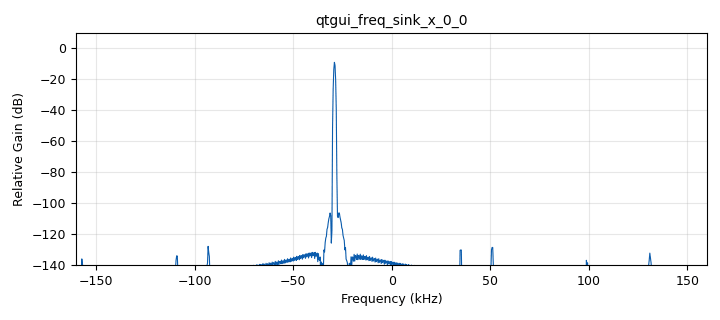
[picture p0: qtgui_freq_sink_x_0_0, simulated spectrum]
options:
  parameters:
    generate_options: qt_gui
    id: timed_xlating_fir_example
    output_language: python
  states: {}

blocks:
- name: samp_rate
  id: variable
  parameters:
    value: '320000'
  states: {}
- name: strobe_freq
  id: variable_qtgui_range
  parameters:
    label: Freq
    orient: Qt.Horizontal
    start: '-1*samp_rate/2'
    step: 1e3
    stop: samp_rate/2
    value: '0'
  states: {}
- name: analog_sig_source_x_0
  id: analog_sig_source_x
  parameters:
    amp: '1'
    freq: '1000'
    offset: '0'
    phase: '0'
    samp_rate: samp_rate
    type: complex
    waveform: analog.GR_COS_WAVE
  states: {}
- name: blocks_add_xx_0
  id: blocks_add_xx
  parameters:
    type: complex
  states: {}
- name: blocks_ctrlport_monitor_performance_0
  id: blocks_ctrlport_monitor_performance
  parameters:
    en: 'True'
  states: {state: disabled}
- name: blocks_file_sink_0
  id: blocks_file_sink
  parameters:
    file: tmp.dat
    type: complex
  states: {state: disabled}
- name: blocks_pdu_set_0
  id: blocks_pdu_set
  parameters:
    k: pmt.intern("freq")
    v: pmt.from_double(1e9)
  states: {}
- name: blocks_pdu_set_0_0
  id: blocks_pdu_set
  parameters:
    k: pmt.intern("lo_offset")
    v: pmt.from_double(13e3)
  states: {}
- name: blocks_pdu_set_0_0_0
  id: blocks_pdu_set
  parameters:
    k: pmt.intern("time")
    v: pmt.cons(pmt.from_uint64(4), pmt.from_double(0.123))
  states: {}
- name: blocks_tag_debug_0
  id: blocks_tag_debug
  parameters:
    type: complex
  states: {}
- name: blocks_tags_strobe_0
  id: blocks_tags_strobe
  parameters:
    key: pmt.intern("set_freq")
    nsamps: samp_rate
    type: complex
    value: pmt.from_double(strobe_freq)
  states: {}
- name: blocks_throttle_0
  id: blocks_throttle
  parameters:
    samples_per_second: samp_rate
    type: complex
  states: {}
- name: freq_xlating_fir_filter_xxx_0
  id: freq_xlating_fir_filter_xxx
  parameters:
    center_freq: '30000'
    decim: '1'
    samp_rate: samp_rate
    taps: '[1]'
    type: ccf
  states: {}
- name: pdu_utils_pdu_split_0
  id: pdu_utils_pdu_split
  parameters:
    pass_empty: 'False'
  states: {}
- name: pdu_utils_qt_pdu_source_0
  id: pdu_utils_qt_pdu_source
  parameters:
    comment: This kludge of PDU Set blocks is because we don't have a dynamic QT PDU block that will generate the dictionary too.
    cr_on: '0'
    default_meta: '{''trailer flags'':(0,0,0),''trailer window'':1000,''net ID'':25}'
    default_vector: '[1,2,3,4]'
    submit_text: Send
  states: {}
- name: qtgui_freq_sink_x_0
  id: qtgui_freq_sink_x
  parameters:
    bw: samp_rate
    fc: '0'
    fftsize: '1024'
    showports: 'True'
    type: complex
    wintype: firdes.WIN_BLACKMAN_hARRIS
  states: {}
- name: qtgui_freq_sink_x_0_0
  id: qtgui_freq_sink_x
  parameters:
    bw: samp_rate
    fc: '0'
    fftsize: '1024'
    showports: 'True'
    type: complex
    wintype: firdes.WIN_BLACKMAN_hARRIS
  states: {}
- name: timing_utils_retune_uhd_to_timed_tag_0
  id: timing_utils_retune_uhd_to_timed_tag
  parameters:
    dict_key: freq
    rate: samp_rate
    time: '0.0'
  states: {}
- name: timing_utils_timed_freq_xlating_fir_XXX_0
  id: timing_utils_timed_freq_xlating_fir_XXX
  parameters:
    center_freq: '30000'
    decim: '10'
    samp_rate: samp_rate
    tag_key: '"set_freq"'
    taps: '[1]'
    type: ccf
  states: {}

connections:
- [analog_sig_source_x_0, '0', blocks_throttle_0, '0']
- [blocks_add_xx_0, '0', freq_xlating_fir_filter_xxx_0, '0']
- [blocks_add_xx_0, '0', timing_utils_timed_freq_xlating_fir_XXX_0, '0']
- [blocks_pdu_set_0, pdus, blocks_pdu_set_0_0, pdus]
- [blocks_pdu_set_0_0, pdus, blocks_pdu_set_0_0_0, pdus]
- [blocks_pdu_set_0_0_0, pdus, pdu_utils_pdu_split_0, pdu_in]
- [blocks_tags_strobe_0, '0', blocks_add_xx_0, '0']
- [blocks_throttle_0, '0', blocks_add_xx_0, '1']
- [blocks_throttle_0, '0', timing_utils_retune_uhd_to_timed_tag_0, '0']
- [freq_xlating_fir_filter_xxx_0, '0', qtgui_freq_sink_x_0_0, '0']
- [timing_utils_retune_uhd_to_timed_tag_0, '0', blocks_tag_debug_0, '0']
- [timing_utils_timed_freq_xlating_fir_XXX_0, '0', qtgui_freq_sink_x_0, '0']

metadata:
  file_format: 1
